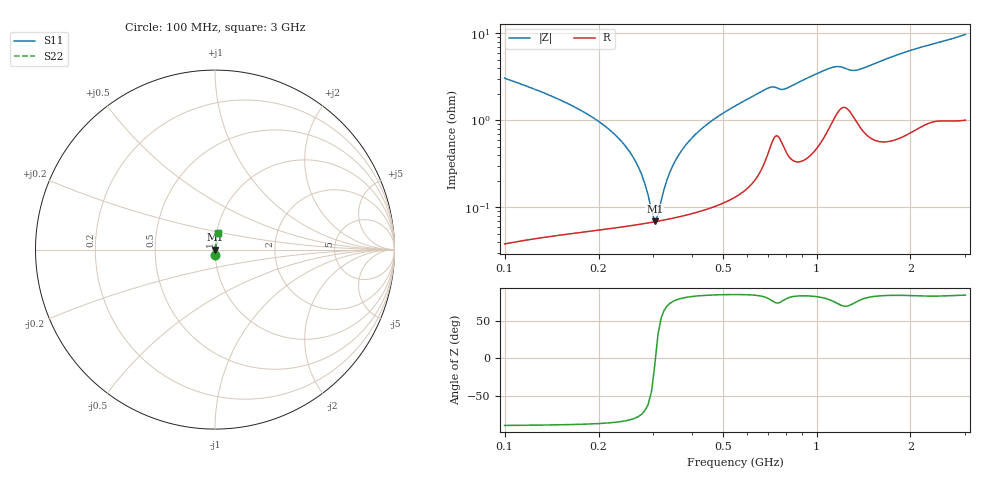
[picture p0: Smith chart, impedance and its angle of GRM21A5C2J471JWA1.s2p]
!Murata Part Number: GRM21A5C2J471JWA1
!These Parameters are Measured in Series Mode Connection
!Data Generated on Mar 30, 2021
!  o--ll--o
!Port1  Port2
!  o------o
!Operation Temp=25[degC], DC Bias Voltage=0[V]
!Freq. Start=100[MHz] Stop=3[GHz] 401[Steps]
# Hz S RI R 50
!Freq.(Hz) S11(Real) S11(Imag) S21(Real) S21(Imag) S12(Real) S12(Imag) S22(Real) S22(Imag)
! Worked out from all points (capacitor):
!   401 points, 100 MHz to 3 GHz, reference 50 ohm
!   read as one part in series: C = 465 pF near 114.5 MHz
!   lowest |Z| = 69 mohm at 303 MHz (marker M1)
!   series resonance near 304.4 MHz, so ESL is about 590 pH
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1e8  0.00131 -0.0305  0.9987 0.0305  0.9987 0.0305  0.00131 -0.0305
1.7975e8  0.000674 -0.0124  0.9993 0.0124  0.9993 0.0124  0.000674 -0.0124
2.305e8  0.000625 -0.00633  0.9994 0.00633  0.9994 0.00633  0.000625 -0.00633
2.595e8  0.000635 -0.00361  0.9994 0.00361  0.9994 0.00361  0.000635 -0.00361
2.74e8  0.000647 -0.00237  0.9994 0.00237  0.9994 0.00237  0.000647 -0.00237
2.9575e8  0.000672 -0.000649  0.9993 0.000649  0.9993 0.000649  0.000672 -0.000649
3.03e8  0.000682 -0.000103  0.9993 0.000103  0.9993 0.000103  0.000682 -0.000103
3.175e8  0.000704 0.000954  0.9993 -0.000954  0.9993 -0.000954  0.000704 0.000954
3.3925e8  0.000744 0.00246  0.9993 -0.00246  0.9993 -0.00246  0.000744 0.00246
3.5375e8  0.000774 0.00342  0.9992 -0.00342  0.9992 -0.00342  0.000774 0.00342
3.9725e8  0.00088 0.00613  0.9991 -0.00613  0.9991 -0.00613  0.00088 0.00613
4.6975e8  0.00112 0.0103  0.9989 -0.0103  0.9989 -0.0103  0.00112 0.0103
5.8575e8  0.00181 0.0166  0.9982 -0.0166  0.9982 -0.0166  0.00181 0.0166
7.0175e8  0.00484 0.023  0.9952 -0.023  0.9952 -0.023  0.00484 0.023
7.8875e8  0.00521 0.0221  0.9948 -0.0221  0.9948 -0.0221  0.00521 0.0221
1.0715e9  0.00826 0.037  0.9917 -0.037  0.9917 -0.037  0.00826 0.037
1.173e9  0.0139 0.0385  0.9861 -0.0385  0.9861 -0.0385  0.0139 0.0385
1.3325e9  0.0112 0.0354  0.9888 -0.0354  0.9888 -0.0354  0.0112 0.0354
1.55e9  0.00781 0.0447  0.9922 -0.0447  0.9922 -0.0447  0.00781 0.0447
2.03575e9  0.0114 0.0633  0.9886 -0.0633  0.9886 -0.0633  0.0114 0.0633
2.5215e9  0.0159 0.0776  0.9841 -0.0776  0.9841 -0.0776  0.0159 0.0776
3e9  0.0189 0.0938  0.9811 -0.0938  0.9811 -0.0938  0.0189 0.0938
